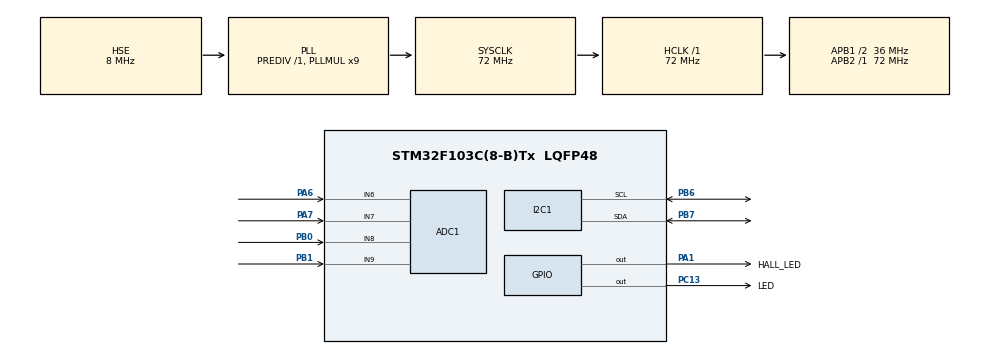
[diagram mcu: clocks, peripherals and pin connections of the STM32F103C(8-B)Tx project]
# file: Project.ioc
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ADC1.Channel-15\#ChannelRegularConversion=ADC_CHANNEL_7
ADC1.Channel-16\#ChannelRegularConversion=ADC_CHANNEL_8
ADC1.Channel-17\#ChannelRegularConversion=ADC_CHANNEL_9
ADC1.Channel-8\#ChannelRegularConversion=ADC_CHANNEL_6
ADC1.ContinuousConvMode=ENABLE
ADC1.NbrOfConversion=4
ADC1.NbrOfConversionFlag=1
ADC1.Rank-15\#ChannelRegularConversion=2
ADC1.Rank-16\#ChannelRegularConversion=3
ADC1.Rank-17\#ChannelRegularConversion=4
ADC1.SamplingTime-15\#ChannelRegularConversion=ADC_SAMPLETIME_28CYCLES_5
ADC1.SamplingTime-16\#ChannelRegularConversion=ADC_SAMPLETIME_28CYCLES_5
ADC1.SamplingTime-17\#ChannelRegularConversion=ADC_SAMPLETIME_28CYCLES_5
ADC1.SamplingTime-8\#ChannelRegularConversion=ADC_SAMPLETIME_28CYCLES_5
ADC1.master=1
Dma.ADC1.0.Direction=DMA_PERIPH_TO_MEMORY
Dma.ADC1.0.Instance=DMA1_Channel1
Dma.ADC1.0.MemDataAlignment=DMA_MDATAALIGN_HALFWORD
Dma.ADC1.0.MemInc=DMA_MINC_ENABLE
Dma.ADC1.0.Mode=DMA_CIRCULAR
Dma.ADC1.0.PeriphDataAlignment=DMA_PDATAALIGN_HALFWORD
Dma.ADC1.0.PeriphInc=DMA_PINC_DISABLE
Dma.ADC1.0.Priority=DMA_PRIORITY_LOW
Dma.Request0=ADC1
I2C1.I2C_Mode=I2C_Fast
Mcu.Family=STM32F1
Mcu.Name=STM32F103C(8-B)Tx
Mcu.Package=LQFP48
NVIC.DMA1_Channel1_IRQn=true\:0\:0\:false\:false\:true\:false\:true\:true
NVIC.PriorityGroup=NVIC_PRIORITYGROUP_4
PA1.GPIO_Label=HALL_LED
PA1.Signal=GPIO_Output
PA13.Mode=Trace_Asynchronous_SW
PA13.Signal=SYS_JTMS-SWDIO
PA14.Mode=Trace_Asynchronous_SW
PA14.Signal=SYS_JTCK-SWCLK
PA6.Signal=ADCx_IN6
PA7.Signal=ADCx_IN7
PB0.Signal=ADCx_IN8
PB1.Signal=ADCx_IN9
PB3.Mode=Trace_Asynchronous_SW
PB3.Signal=SYS_JTDO-TRACESWO
PB6.Mode=I2C
PB6.Signal=I2C1_SCL
PB7.Mode=I2C
PB7.Signal=I2C1_SDA
PC13-TAMPER-RTC.GPIO_Label=LED
PC13-TAMPER-RTC.Signal=GPIO_Output
PD0-OSC_IN.Mode=HSE-External-Oscillator
PD0-OSC_IN.Signal=RCC_OSC_IN
PD1-OSC_OUT.Mode=HSE-External-Oscillator
PD1-OSC_OUT.Signal=RCC_OSC_OUT
ProjectManager.HeapSize=0x200
ProjectManager.StackSize=0x400
ProjectManager.TargetToolchain=STM32CubeIDE
RCC.ADCPresc=RCC_ADCPCLK2_DIV6
RCC.AHBFreq_Value=72000000
RCC.APB1CLKDivider=RCC_HCLK_DIV2
RCC.APB1Freq_Value=36000000
RCC.APB1TimFreq_Value=72000000
RCC.APB2Freq_Value=72000000
RCC.APB2TimFreq_Value=72000000
RCC.HCLKFreq_Value=72000000
RCC.PLLMUL=RCC_PLL_MUL9
RCC.PLLSourceVirtual=RCC_PLLSOURCE_HSE
RCC.SYSCLKFreq_VALUE=72000000
RCC.SYSCLKSource=RCC_SYSCLKSOURCE_PLLCLK
RCC.USBFreq_Value=48000000
RCC.USBPrescaler=RCC_USBCLKSOURCE_PLL_DIV1_5
SH.ADCx_IN6.0=ADC1_IN6,IN6
SH.ADCx_IN7.0=ADC1_IN7,IN7
SH.ADCx_IN8.0=ADC1_IN8,IN8
SH.ADCx_IN9.0=ADC1_IN9,IN9
board=custom

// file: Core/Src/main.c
/* USER CODE BEGIN Header */
/**
  ******************************************************************************
  * @file           : main.c
  * @brief          : Main program body
  ******************************************************************************
  * @attention
  *
  * Copyright (c) 2024 STMicroelectronics.
  * All rights reserved.
  *
  * This software is licensed under terms that can be found in the LICENSE file
  * in the root directory of this software component.
  * If no LICENSE file comes with this software, it is provided AS-IS.
  *
  ******************************************************************************
  */
/* USER CODE END Header */
#include "main.h"
#include "adc.h"
#include "dma.h"
#include "i2c.h"
#include "gpio.h"

/* USER CODE BEGIN Includes */

#include <stdio.h>
#include <string.h>
#include <math.h>
#include <stdlib.h>
#include "ssd1306.h"
#include "ssd1306_fonts.h"

/* USER CODE END Includes */

/* USER CODE BEGIN PV */
#define NUM_SENSORS 4
uint16_t adc_values[NUM_SENSORS];
uint16_t val = 0;
char ret;

/* USER CODE END PV */

void SystemClock_Config(void);
/* USER CODE BEGIN PFP */

int _write(int file, char *ptr, int len)
{
    for (int DataIdx = 0; DataIdx < len; DataIdx++)
        ITM_SendChar(*ptr++);

    return len;
}

/* USER CODE END PFP */

int main(void)
{

  /* MCU Configuration--------------------------------------------------------*/

  /* Reset of all peripherals, Initializes the Flash interface and the Systick. */
  HAL_Init();

  /* Configure the system clock */
  SystemClock_Config();

  /* Initialize all configured peripherals */
  MX_GPIO_Init();
  MX_DMA_Init();
  MX_ADC1_Init();
  MX_I2C1_Init();
  /* USER CODE BEGIN 2 */
  ssd1306_Init();
  HAL_ADC_Start_DMA(&hadc1, (uint32_t*)adc_values, NUM_SENSORS);
  /* USER CODE END 2 */

  /* Infinite loop */
  while (1)
  {

    /* USER CODE BEGIN 3 */

	  for (int i = 0; i < NUM_SENSORS; i++) {
	      printf("ADC value %d: %hu\n", i, adc_values[i]);
	  }

//	  HAL_ADC_Start(&hadc1);
//	  HAL_ADC_PollForConversion(&hadc1, 300);
//	  val = HAL_ADC_GetValue(&hadc1);
//	  printf("Hall sensor: %hu\r\n", val);

//	  HAL_GPIO_TogglePin(GPIOC, GPIO_PIN_13);
//	  HAL_Delay(1000);
//	  uint16_t percentage = round(100 - abs(val - 1060) / 10.60);

//	  ssd1306_Fill(Black);
//	  ssd1306_DrawCircle(16, 16, round(percentage * 0.16), White);
//
//	  char buff[6];  // Enough to hold a 5-digit number (uint16_t max is 65535) + null terminator
//	  sprintf(buff, "%u", percentage);
//	  ssd1306_SetCursor(0, 5);
//	  ret = ssd1306_WriteString(buff, Font_7x10, White);
//	  ssd1306_UpdateScreen();

    ssd1306_UpdateScreen();

	  if(val < 2070) {
		  HAL_GPIO_WritePin(GPIOA, GPIO_PIN_1, 1);
	  } else {
		  HAL_GPIO_WritePin(GPIOA, GPIO_PIN_1, 0);
	  }
	  HAL_Delay(40);
  }

  /* USER CODE END 3 */
}

void SystemClock_Config(void)
{
  RCC_OscInitTypeDef RCC_OscInitStruct = {0};
  RCC_ClkInitTypeDef RCC_ClkInitStruct = {0};
  RCC_PeriphCLKInitTypeDef PeriphClkInit = {0};

  /** Initializes the RCC Oscillators according to the specified parameters
  * in the RCC_OscInitTypeDef structure.
  */
  RCC_OscInitStruct.OscillatorType = RCC_OSCILLATORTYPE_HSE;
  RCC_OscInitStruct.HSEState = RCC_HSE_ON;
  RCC_OscInitStruct.HSEPredivValue = RCC_HSE_PREDIV_DIV1;
  RCC_OscInitStruct.HSIState = RCC_HSI_ON;
  RCC_OscInitStruct.PLL.PLLState = RCC_PLL_ON;
  RCC_OscInitStruct.PLL.PLLSource = RCC_PLLSOURCE_HSE;
  RCC_OscInitStruct.PLL.PLLMUL = RCC_PLL_MUL9;
  if (HAL_RCC_OscConfig(&RCC_OscInitStruct) != HAL_OK)
  {
    Error_Handler();
  }

  /** Initializes the CPU, AHB and APB buses clocks
  */
  RCC_ClkInitStruct.ClockType = RCC_CLOCKTYPE_HCLK|RCC_CLOCKTYPE_SYSCLK
                              |RCC_CLOCKTYPE_PCLK1|RCC_CLOCKTYPE_PCLK2;
  RCC_ClkInitStruct.SYSCLKSource = RCC_SYSCLKSOURCE_PLLCLK;
  RCC_ClkInitStruct.AHBCLKDivider = RCC_SYSCLK_DIV1;
  RCC_ClkInitStruct.APB1CLKDivider = RCC_HCLK_DIV2;
  RCC_ClkInitStruct.APB2CLKDivider = RCC_HCLK_DIV1;

  if (HAL_RCC_ClockConfig(&RCC_ClkInitStruct, FLASH_LATENCY_2) != HAL_OK)
  {
    Error_Handler();
  }
  PeriphClkInit.PeriphClockSelection = RCC_PERIPHCLK_ADC;
  PeriphClkInit.AdcClockSelection = RCC_ADCPCLK2_DIV6;
  if (HAL_RCCEx_PeriphCLKConfig(&PeriphClkInit) != HAL_OK)
  {
    Error_Handler();
  }
}

/* USER CODE BEGIN 4 */
void HAL_ADC_ConvCpltCallback(ADC_HandleTypeDef* hadc) {
   if (hadc->Instance == ADC1)
	{
		// Clear the OLED screen before updating it
		ssd1306_Fill(Black);

		// Loop through all sensor values and update the OLED
		for (int i = 0; i < NUM_SENSORS; i++)
		{
			uint16_t percentage = round(100 - abs(adc_values[i] - 1060) / 10.60);
			char buff[6];
			sprintf(buff, "%u", percentage);

			// Draw sensor data based on index
			if (i == 0)
			{
				ssd1306_DrawCircle(16, 16, round(percentage * 0.16), White);
				ssd1306_SetCursor(0, 5);
			}
			else if (i == 1)
			{
				ssd1306_DrawCircle(56, 10, round(percentage * 0.16), White);
				ssd1306_SetCursor(40, 5);
			}
			else if (i == 2)
			{
				ssd1306_DrawCircle(16, 45, round(percentage * 0.16), White);
				ssd1306_SetCursor(0, 40);
			}
			else if (i == 3)
			{
				ssd1306_DrawCircle(56, 45, round(percentage * 0.16), White);
				ssd1306_SetCursor(40, 40);
			}

			ssd1306_WriteString(buff, Font_7x10, White);
		}

		// Update the OLED display with new sensor data
		ssd1306_UpdateScreen();
	}
}

/* USER CODE END 4 */

void Error_Handler(void)
{
  __disable_irq();
  while (1)
  {
  }
}
